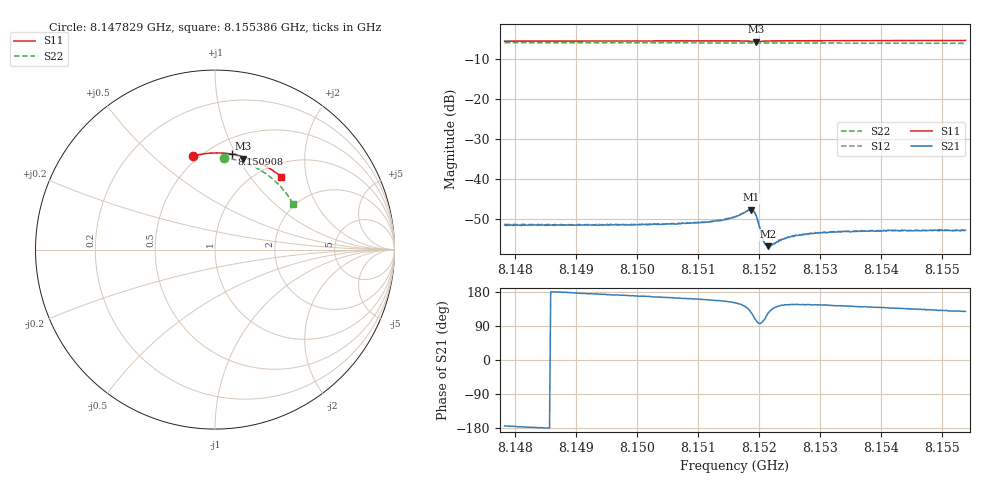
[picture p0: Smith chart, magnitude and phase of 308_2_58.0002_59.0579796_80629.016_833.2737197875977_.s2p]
#  HZ  S  RI  R  50.00
! Rohde & Schwarz Vector Network Analyzer
! Rohde-Schwarz,ZNB20-2Port,1311601062101988,3.16
! Created: UTC 3/21/2024, 1:04:04 AM
! freq[Hz]  re:S11  im:S11  re:S21  im:S21  re:S12  im:S12  re:S22  im:S22
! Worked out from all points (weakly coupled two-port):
!   401 points, 8.147829 GHz to 8.155386 GHz, reference 50 ohm
!   highest |S21| = -47.74 dB at 8.151872 GHz (marker M1); lowest = -56.9 dB at 8.152155 GHz (marker M2)
!   lowest |S11| = -5.5 dB at 8.151948 GHz (marker M3), VSWR 3.25, Z = 37.2 + j52.4 ohm
!   |S11| at or under -10 dB: nowhere
!   |S22| runs from -6.0 to -5.8 dB; largest |S21 - S12| = 0.00013
!   S11 on the Smith chart (normalised r, x): 8.147829 GHz: 0.47, +0.68; 8.150908 GHz: 0.64, +0.96; 8.155386 GHz: 1.24, +1.44
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8.1478288e9  -0.1214 0.5217  -0.00261 -0.000269  -0.0027 -0.000203  0.0475 0.5119
8.1490946e9  -0.0344 0.5367  -0.00262 0.000193  -0.00263 0.000237  0.1286 0.4964
8.1503605e9  0.0539 0.5372  -0.00263 0.000642  -0.00264 0.0007  0.2055 0.4682
8.1509084e9  0.092 0.5328  -0.00265 0.000905  -0.00268 0.00092  0.237 0.4523
8.1513618e9  0.124 0.5268  -0.00275 0.00118  -0.00278 0.00126  0.2621 0.4375
8.1516074e9  0.1418 0.5217  -0.00294 0.00162  -0.00292 0.00165  0.2754 0.4287
8.1518153e9  0.1567 0.5132  -0.00289 0.00277  -0.00286 0.00283  0.2861 0.4209
8.1518719e9  0.1589 0.5091  -0.00237 0.00335  -0.00237 0.0034  0.2891 0.4188
8.1519097e9  0.1586 0.5066  -0.00171 0.00357  -0.00169 0.00362  0.2909 0.4173
8.1519475e9  0.1573 0.5057  -0.000984 0.00343  -0.000931 0.00345  0.2926 0.416
8.1519853e9  0.1567 0.5072  -0.000433 0.00289  -0.000389 0.0029  0.2946 0.4146
8.152042e9  0.159 0.5102  -0.000299 0.00197  -0.000242 0.00198  0.2974 0.4127
8.1520798e9  0.1619 0.5116  -0.000429 0.00159  -0.00042 0.00159  0.2994 0.4112
8.1521175e9  0.165 0.5122  -0.000636 0.00134  -0.000597 0.00136  0.3014 0.4099
8.1521553e9  0.1681 0.5124  -0.000814 0.00118  -0.000807 0.00123  0.3034 0.4083
8.1522309e9  0.1744 0.5118  -0.0011 0.00104  -0.00108 0.00108  0.3073 0.4055
8.1523443e9  0.1831 0.5099  -0.00136 0.00101  -0.00135 0.00104  0.3127 0.4009
8.1525143e9  0.1952 0.5063  -0.00156 0.00104  -0.00155 0.00105  0.3213 0.394
8.1528733e9  0.2193 0.4974  -0.00169 0.00117  -0.00174 0.00121  0.3383 0.3787
8.1534023e9  0.253 0.4821  -0.00175 0.00134  -0.00173 0.00134  0.362 0.355
8.1541391e9  0.2976 0.4572  -0.00167 0.00153  -0.00162 0.00155  0.3923 0.3194
8.1553861e9  0.3669 0.4062  -0.0014 0.00178  -0.00142 0.00181  0.4353 0.2539
